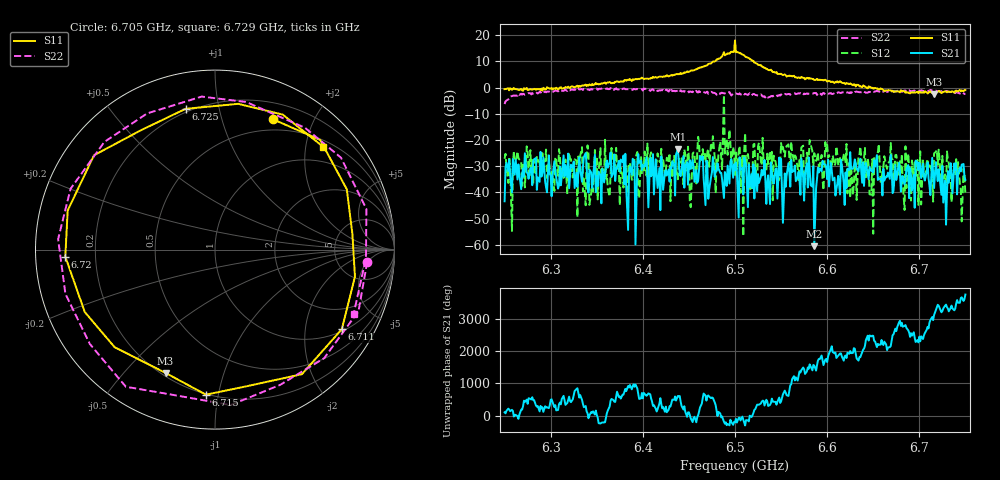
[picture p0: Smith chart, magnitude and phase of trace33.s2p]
# Hz S RI R 50
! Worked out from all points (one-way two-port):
!   401 points, 6.25 GHz to 6.75 GHz, reference 50 ohm
!   highest |S21| = -23.46 dB at 6.438 GHz (marker M1); lowest = -60.5 dB at 6.586 GHz (marker M2)
!   lowest |S11| = -2.6 dB at 6.716 GHz (marker M3), VSWR 6.70, Z = 10.8 - j32.7 ohm
!   |S11| at or under -10 dB: nowhere
!   |S22| runs from -6.3 to -0.2 dB; largest |S21 - S12| = 0.71
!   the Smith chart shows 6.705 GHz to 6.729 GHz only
!   S11 on the Smith chart (normalised r, x): 6.705 GHz: 0.38, +1.48; 6.711 GHz: 1.08, -3.14; 6.715 GHz: 0.20, -0.92; 6.72 GHz: 0.09, -0.02; 6.725 GHz: 0.18, +0.80; 6.729 GHz: 0.64, +2.36
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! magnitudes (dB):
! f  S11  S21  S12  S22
! 6.25 GHz  -0.6  -43.4  -27.2  -6.3
! 6.334 GHz  0.8  -35.9  -22.8  -0.6
! 6.418 GHz  4.2  -30.7  -28.1  -1.1
! 6.438 GHz  5.1  -23.5  -35.0  -1.2
! 6.48 GHz  10.7  -31.8  -27.5  -2.7
! 6.49 GHz  12.6  -33.9  -21.1  -2.1
! 6.5 GHz  18.0  -31.6  -33.4  -2.4
! 6.584 GHz  3.3  -37.8  -24.3  -2.3
! 6.586 GHz  2.9  -60.5  -25.0  -2.1
! 6.625 GHz  1.5  -24.6  -42.1  -1.8
! 6.639 GHz  0.8  -28.6  -32.9  -1.5
! 6.648 GHz  -0.1  -31.9  -40.8  -1.7
! 6.654 GHz  -0.4  -25.8  -28.0  -1.3
! 6.668 GHz  -1.1  -34.8  -28.0  -1.2
! 6.705 GHz  -2.0  -33.6  -32.1  -1.4
! 6.711 GHz  -1.6  -37.4  -29.7  -1.5
! 6.715 GHz  -1.8  -32.9  -43.5  -1.2
! 6.716 GHz  -2.6  -38.4  -25.1  -1.1
! 6.72 GHz  -1.6  -35.7  -29.5  -1.4
! 6.725 GHz  -1.9  -29.9  -26.1  -1.2
! 6.729 GHz  -1.6  -52.3  -39.3  -1.4
! 6.75 GHz  -1.0  -35.2  -41.0  -2.3
